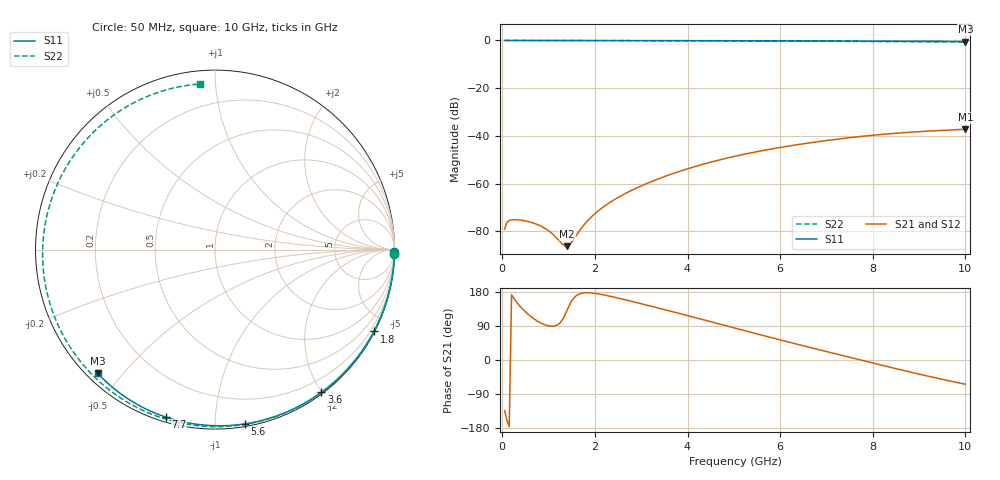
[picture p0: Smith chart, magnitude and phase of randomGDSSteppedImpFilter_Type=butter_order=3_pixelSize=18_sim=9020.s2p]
! freq	dB(S11)	phase(S11)	dB(S12)	phase(S12)
!  dB(S21)	phase(S21)	dB(S22)	phase(S22)
!S-par simulation data
#  GHz  S  DB  R 50
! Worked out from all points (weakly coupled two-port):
!   200 points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, 50 MHz to 10 GHz, reference 50 ohm
!   highest |S21| = -37.21 dB at 10 GHz (marker M1); lowest = -86.2 dB at 1.4 GHz (marker M2)
!   lowest |S11| = -0.4 dB at 10 GHz (marker M3), VSWR 38.79, Z = 1.53 - j21.5 ohm
!   |S11| at or under -10 dB: nowhere
!   |S22| runs from -0.7 to 0.0 dB; largest |S21 - S12| = 0
!   S11 on the Smith chart (normalised r, x): 50 MHz: open; 1.8 GHz: 0.04, -4.12; 3.6 GHz: 0.02, -1.99; 5.6 GHz: 0.02, -1.19; 7.7 GHz: 0.02, -0.75; 10 GHz: 0.03, -0.43
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0.05  -0.00 -0.8  -79.05 -133.4  -79.05 -133.4  -0.00 -1.4
0.1  -0.00 -1.5  -76.23 -159.4  -76.23 -159.4  -0.00 -2.9
0.15  -0.00 -2.3  -75.45 -175.6  -75.45 -175.6  -0.00 -4.3
0.3  -0.00 -4.6  -75.12 154.1  -75.12 154.1  -0.00 -8.6
0.65  -0.01 -10.0  -76.38 111.7  -76.38 111.7  -0.02 -18.5
1.05  -0.02 -16.0  -80.50 89.2  -80.50 89.2  -0.04 -29.7
1.4  -0.03 -21.3  -86.21 131.7  -86.21 131.7  -0.05 -39.3
1.65  -0.03 -25.0  -80.14 173.6  -80.14 173.6  -0.06 -46.1
1.75  -0.03 -26.5  -77.57 177.0  -77.57 177.0  -0.06 -48.8
1.8  -0.03 -27.3  -76.43 177.6  -76.43 177.6  -0.06 -50.2
2.1  -0.04 -31.7  -70.97 174.0  -70.97 174.0  -0.07 -58.2
2.45  -0.05 -36.8  -66.37 164.9  -66.37 164.9  -0.08 -67.3
3.4  -0.07 -50.5  -57.78 136.2  -57.78 136.2  -0.12 -91.4
3.6  -0.07 -53.3  -56.36 129.9  -56.36 129.9  -0.13 -96.4
4.3  -0.09 -63.0  -52.07 107.5  -52.07 107.5  -0.16 -113.3
5.05  -0.11 -73.1  -48.42 83.2  -48.42 83.2  -0.20 -131.0
5.6  -0.13 -80.3  -46.23 65.6  -46.23 65.6  -0.23 -143.9
6.7  -0.18 -94.2  -42.74 31.5  -42.74 31.5  -0.32 -170.2
7.7  -0.24 -106.4  -40.31 1.1  -40.31 1.1  -0.41 164.5
8.35  -0.29 -114.1  -39.11 -18.4  -39.11 -18.4  -0.48 146.7
9.25  -0.37 -124.7  -37.94 -44.2  -37.94 -44.2  -0.58 119.9
10  -0.45 -133.4  -37.21 -64.0  -37.21 -64.0  -0.66 95.1
